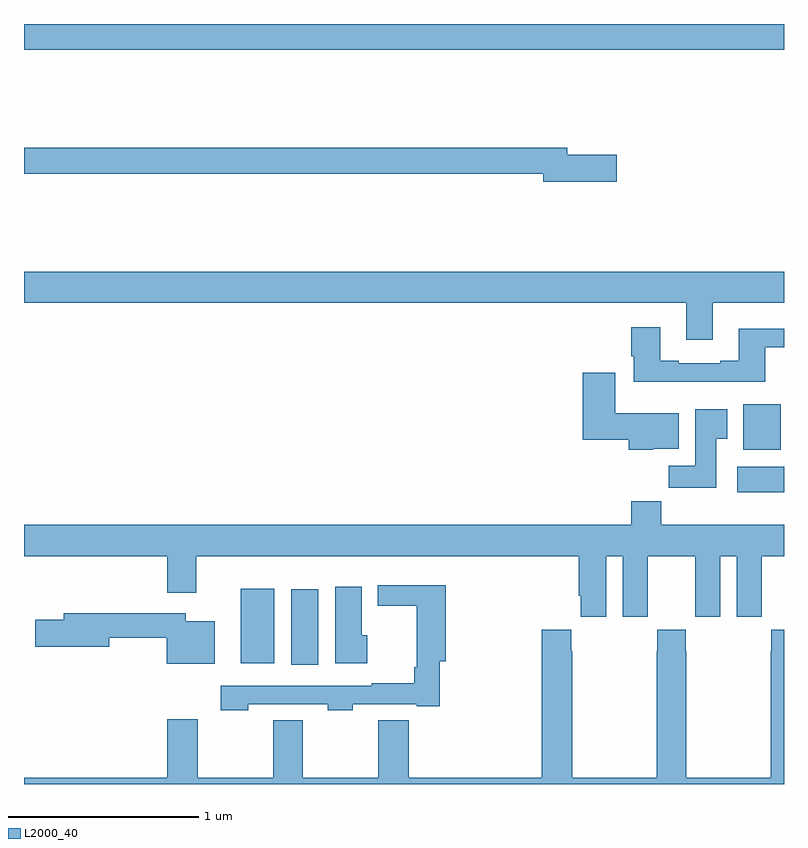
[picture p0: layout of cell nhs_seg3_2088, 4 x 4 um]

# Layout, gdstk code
import gdstk
lib = gdstk.Library(unit=1e-6, precision=1e-09)
def R(c, l, rs):  # rectangles x0, y0, x1, y1
    for r in rs: c.add(gdstk.rectangle(r[:2], r[2:], *l))
def P(c, l, *ps):  # polygons
    for p in ps: c.add(gdstk.Polygon(p, *l))
L2000_40 = (2000, 40)

nhs_seg3_2088 = lib.new_cell('nhs_seg3_2088')
R(nhs_seg3_2088, L2000_40, [(220.406,683.028,220.549,683.425), (220.142,683.036,220.318,683.428), (222.753,683.936,223,684.07), (222.785,684.158,222.982,684.4), (219,686.264,223,686.4)])
P(nhs_seg3_2088, L2000_40, [(222.121,685.712),(221.86,685.712),(221.86,685.748),(219,685.748),(219,685.612),(221.732,685.612),(221.732,685.57),(222.121,685.57)],
  [(222.625,684.932),(223,684.932),(223,685.096),(219,685.096),(219,684.932),(222.485,684.932),(222.485,684.738),(222.625,684.738)],
  [(222.901,684.699),(223,684.699),(223,684.796),(222.761,684.796),(222.761,684.628),(222.665,684.628),(222.665,684.615),(222.445,684.615),(222.445,684.628),(222.349,684.628),(222.349,684.805),(222.197,684.805),(222.197,684.652),(222.209,684.652),(222.209,684.518),(222.901,684.518)],
  [(222.312,684.164),(222.445,684.164),(222.445,684.352),(222.112,684.352),(222.112,684.565),(221.942,684.565),(221.942,684.212),(222.182,684.212),(222.182,684.158),(222.312,684.158)],
  [(222.643,684.217),(222.7,684.217),(222.7,684.373),(222.533,684.373),(222.533,684.076),(222.394,684.076),(222.394,683.958),(222.643,683.958)],
  [(222.064,683.6),(222.152,683.6),(222.152,683.28),(222.282,683.28),(222.282,683.392),(222.283,683.392),(222.283,683.6),(222.533,683.6),(222.533,683.392),(222.534,683.392),(222.534,683.28),(222.664,683.28),(222.664,683.6),(222.752,683.6),(222.752,683.28),(222.882,683.28),(222.882,683.392),(222.883,683.392),(222.883,683.6),(223,683.6),(223,683.764),(222.353,683.764),(222.353,683.888),(222.197,683.888),(222.197,683.764),(219,683.764),(219,683.6),(219.755,683.6),(219.755,683.406),(219.907,683.406),(219.907,683.6),(221.921,683.6),(221.921,683.392),(221.93,683.392),(221.93,683.28),(222.064,683.28)],
  [(220.179,682.821),(220.599,682.821),(220.599,682.789),(220.731,682.789),(220.731,682.821),(221.066,682.821),(221.066,682.809),(221.189,682.809),(221.189,683.045),(221.219,683.045),(221.219,683.446),(220.863,683.446),(220.863,683.337),(221.068,683.337),(221.068,683.014),(221.053,683.014),(221.053,682.93),(220.831,682.93),(220.831,682.917),(220.035,682.917),(220.035,682.789),(220.179,682.789)],
  [(220.807,683.184),(220.777,683.184),(220.777,683.437),(220.637,683.437),(220.637,683.036),(220.807,683.036)],
  [(220.003,683.257),(219.85,683.257),(219.85,683.299),(219.209,683.299),(219.209,683.265),(219.06,683.265),(219.06,683.123),(219.448,683.123),(219.448,683.17),(219.752,683.17),(219.752,683.033),(220.003,683.033)],
  [(223,683.212),(222.933,683.212),(222.933,683.099),(222.931,683.099),(222.931,682.432),(222.486,682.432),(222.486,683.099),(222.483,683.099),(222.483,683.212),(222.333,683.212),(222.333,683.099),(222.331,683.099),(222.331,682.432),(221.886,682.432),(221.886,683.099),(221.879,683.099),(221.879,683.212),(221.726,683.212),(221.726,682.432),(221.024,682.432),(221.024,682.736),(220.864,682.736),(220.864,682.432),(220.466,682.432),(220.466,682.736),(220.312,682.736),(220.312,682.432),(219.915,682.432),(219.915,682.741),(219.755,682.741),(219.755,682.432),(219,682.432),(219,682.4),(223,682.4)])

lib.write_gds('nhs_seg3_2088.gds')
